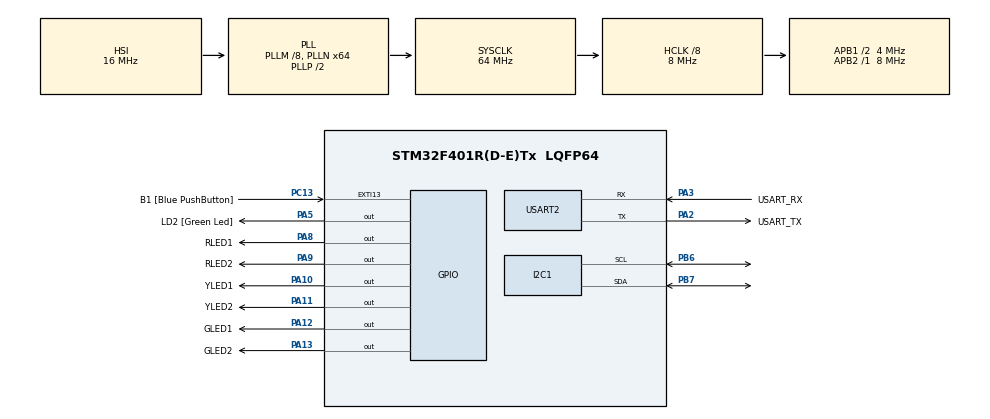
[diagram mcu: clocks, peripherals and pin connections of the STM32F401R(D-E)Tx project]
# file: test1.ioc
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Mcu.Family=STM32F4
Mcu.Name=STM32F401R(D-E)Tx
Mcu.Package=LQFP64
NVIC.PriorityGroup=NVIC_PRIORITYGROUP_0
NVIC.TIM3_IRQn=true\:0\:0\:false\:false\:true\:true\:true\:true
PA10.GPIO_Label=YLED1
PA10.Signal=GPIO_Output
PA11.GPIO_Label=YLED2
PA11.Signal=GPIO_Output
PA12.GPIO_Label=GLED1
PA12.Signal=GPIO_Output
PA13.GPIO_Label=GLED2
PA13.Signal=GPIO_Output
PA14.GPIO_Label=TCK
PA14.Signal=SYS_JTCK-SWCLK
PA2.GPIO_Label=USART_TX
PA2.GPIO_Mode=GPIO_MODE_AF_PP
PA2.GPIO_PuPd=GPIO_NOPULL
PA2.GPIO_Speed=GPIO_SPEED_FREQ_LOW
PA2.Mode=Asynchronous
PA2.Signal=USART2_TX
PA3.GPIO_Label=USART_RX
PA3.GPIO_Mode=GPIO_MODE_AF_PP
PA3.GPIO_PuPd=GPIO_NOPULL
PA3.GPIO_Speed=GPIO_SPEED_FREQ_LOW
PA3.Mode=Asynchronous
PA3.Signal=USART2_RX
PA5.GPIO_Label=LD2 [Green Led]
PA5.GPIO_Mode=GPIO_MODE_OUTPUT_PP
PA5.GPIO_PuPd=GPIO_NOPULL
PA5.GPIO_Speed=GPIO_SPEED_FREQ_LOW
PA5.Signal=GPIO_Output
PA8.GPIO_Label=RLED1
PA8.Signal=GPIO_Output
PA9.GPIO_Label=RLED2
PA9.Signal=GPIO_Output
PB10.Signal=I2S2_CK
PB12.Signal=I2S2_WS
PB3.GPIO_Label=SWO
PB3.Signal=SYS_JTDO-SWO
PB6.Mode=I2C
PB6.Signal=I2C1_SCL
PB7.Mode=I2C
PB7.Signal=I2C1_SDA
PC13-ANTI_TAMP.GPIO_Label=B1 [Blue PushButton]
PC13-ANTI_TAMP.GPIO_ModeDefaultEXTI=GPIO_MODE_IT_FALLING
PC13-ANTI_TAMP.GPIO_PuPd=GPIO_NOPULL
PC13-ANTI_TAMP.Signal=GPXTI13
PC14-OSC32_IN.Mode=LSE-External-Oscillator
PC14-OSC32_IN.Signal=RCC_OSC32_IN
PC15-OSC32_OUT.Mode=LSE-External-Oscillator
PC15-OSC32_OUT.Signal=RCC_OSC32_OUT
PC2.Signal=I2S2_ext_SD
PC3.Signal=I2S2_SD
PC6.Signal=I2S2_MCK
PH0\ -\ OSC_IN.Mode=HSE-External-Clock-Source
PH0\ -\ OSC_IN.Signal=RCC_OSC_IN
PH1\ -\ OSC_OUT.Mode=HSE-External-Clock-Source
PH1\ -\ OSC_OUT.Signal=RCC_OSC_OUT
ProjectManager.HeapSize=0x200
ProjectManager.StackSize=0x400
ProjectManager.TargetToolchain=STM32CubeIDE
RCC.48MHZClocksFreq_Value=18285714.285714287
RCC.AHBCLKDivider=RCC_SYSCLK_DIV8
RCC.AHBFreq_Value=8000000
RCC.APB1CLKDivider=RCC_HCLK_DIV2
RCC.APB1Freq_Value=4000000
RCC.APB1TimFreq_Value=8000000
RCC.APB2Freq_Value=8000000
RCC.APB2TimFreq_Value=8000000
RCC.CortexFreq_Value=8000000
RCC.HCLKFreq_Value=8000000
RCC.HSE_VALUE=8000000
RCC.HSI_VALUE=16000000
RCC.PLLM=8
RCC.PLLN=64
RCC.PLLQ=7
RCC.SYSCLKFreq_VALUE=64000000
RCC.SYSCLKSource=RCC_SYSCLKSOURCE_PLLCLK
RCC.VCOOutputFreq_Value=128000000
TIM3.Period=62499
TIM3.Prescaler=128
TIM3.TIM_MasterOutputTrigger=TIM_TRGO_UPDATE
USART2.VirtualMode=VM_ASYNC
VP_TIM3_VS_ClockSourceINT.Mode=Internal
board=NUCLEO-F401RE

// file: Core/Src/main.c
/* USER CODE BEGIN Header */
/**
  ******************************************************************************
  * @file           : main.c
  * @brief          : Main program body
  ******************************************************************************
  * @attention
  *
  * Copyright (c) 2022 STMicroelectronics.
  * All rights reserved.
  *
  * This software is licensed under terms that can be found in the LICENSE file
  * in the root directory of this software component.
  * If no LICENSE file comes with this software, it is provided AS-IS.
  *
  ******************************************************************************
  */
/* USER CODE END Header */
#include "main.h"

/* USER CODE BEGIN PD */
#define HIGH 1
#define LOW 0
#define NUM_LEDS 6
#define RST_TIME 1
#define ADC_DAC_SAMPL_RATE 0x00 /* f_ref/1 */
#define F_REF 0x00 /*48kHz*/
#define TIMEOUT 1000
/* USER CODE END PD */

I2C_HandleTypeDef hi2c1;

TIM_HandleTypeDef htim3;

UART_HandleTypeDef huart2;

/* USER CODE BEGIN PV */
uint8_t TIM3_ISR_FLAG = 0;

uint16_t LED_PIN[NUM_LEDS]={RLED1_Pin, RLED2_Pin, YLED1_Pin, YLED2_Pin, GLED1_Pin, GLED2_Pin};
// I2C COMMUNICATION
uint8_t CODEC_I2C_ADDR = 0b0011000;
uint8_t CDC_REG0_ADDR = 0x00; /* PAGE SELECTION */
uint8_t CDC_REG2[] = {0x02, ADC_DAC_SAMPL_RATE};
uint8_t CDC_REG7[] = {0x07, F_REF}; /* fref */

/* USER CODE END PV */

void SystemClock_Config(void);
static void MX_GPIO_Init(void);
static void MX_USART2_UART_Init(void);
static void MX_TIM3_Init(void);
static void MX_I2C1_Init(void);
/* USER CODE BEGIN PFP */
static void Led_Clear();
static void Codec_Setup();
/* USER CODE END PFP */

int main(void)
{

  /* MCU Configuration--------------------------------------------------------*/

  /* Reset of all peripherals, Initializes the Flash interface and the Systick. */
  HAL_Init();

  /* Configure the system clock */
  SystemClock_Config();

  /* Initialize all configured peripherals */
  MX_GPIO_Init();
  MX_USART2_UART_Init();
  MX_TIM3_Init();
  MX_I2C1_Init();
  /* USER CODE BEGIN 2 */

  /* Start the Timer 3 to turn on LEDS */
  HAL_TIM_Base_Start_IT(&htim3);
  /* wait for CODEC RESET */
  HAL_Delay(RST_TIME);
  /* Codec Setup */
  Codec_Setup();
  /* USER CODE END 2 */

  /* Infinite loop */
  /* USER CODE BEGIN WHILE */
  uint8_t led_index = 0;
  while (1)
  {
    /* USER CODE END WHILE */

    /* USER CODE BEGIN 3 */
	  /* reset leds */
	  Led_Clear();

	  if(TIM3_ISR_FLAG){
		  /* set new led */
		  HAL_GPIO_WritePin(GPIOA, LED_PIN[led_index], HIGH);

		  led_index++;
		  if(led_index == NUM_LEDS){
			  led_index = 0;
		  }

		  TIM3_ISR_FLAG = 0;
	  }

  }
  /* USER CODE END 3 */
}

void SystemClock_Config(void)
{
  RCC_OscInitTypeDef RCC_OscInitStruct = {0};
  RCC_ClkInitTypeDef RCC_ClkInitStruct = {0};

  /** Configure the main internal regulator output voltage
  */
  __HAL_RCC_PWR_CLK_ENABLE();
  __HAL_PWR_VOLTAGESCALING_CONFIG(PWR_REGULATOR_VOLTAGE_SCALE2);

  /** Initializes the RCC Oscillators according to the specified parameters
  * in the RCC_OscInitTypeDef structure.
  */
  RCC_OscInitStruct.OscillatorType = RCC_OSCILLATORTYPE_HSI;
  RCC_OscInitStruct.HSIState = RCC_HSI_ON;
  RCC_OscInitStruct.HSICalibrationValue = RCC_HSICALIBRATION_DEFAULT;
  RCC_OscInitStruct.PLL.PLLState = RCC_PLL_ON;
  RCC_OscInitStruct.PLL.PLLSource = RCC_PLLSOURCE_HSI;
  RCC_OscInitStruct.PLL.PLLM = 8;
  RCC_OscInitStruct.PLL.PLLN = 64;
  RCC_OscInitStruct.PLL.PLLP = RCC_PLLP_DIV2;
  RCC_OscInitStruct.PLL.PLLQ = 7;
  if (HAL_RCC_OscConfig(&RCC_OscInitStruct) != HAL_OK)
  {
    Error_Handler();
  }

  /** Initializes the CPU, AHB and APB buses clocks
  */
  RCC_ClkInitStruct.ClockType = RCC_CLOCKTYPE_HCLK|RCC_CLOCKTYPE_SYSCLK
                              |RCC_CLOCKTYPE_PCLK1|RCC_CLOCKTYPE_PCLK2;
  RCC_ClkInitStruct.SYSCLKSource = RCC_SYSCLKSOURCE_PLLCLK;
  RCC_ClkInitStruct.AHBCLKDivider = RCC_SYSCLK_DIV8;
  RCC_ClkInitStruct.APB1CLKDivider = RCC_HCLK_DIV2;
  RCC_ClkInitStruct.APB2CLKDivider = RCC_HCLK_DIV1;

  if (HAL_RCC_ClockConfig(&RCC_ClkInitStruct, FLASH_LATENCY_0) != HAL_OK)
  {
    Error_Handler();
  }
}

static void MX_I2C1_Init(void)
{

  hi2c1.Instance = I2C1;
  hi2c1.Init.ClockSpeed = 100000;
  hi2c1.Init.DutyCycle = I2C_DUTYCYCLE_2;
  hi2c1.Init.OwnAddress1 = 0;
  hi2c1.Init.AddressingMode = I2C_ADDRESSINGMODE_7BIT;
  hi2c1.Init.DualAddressMode = I2C_DUALADDRESS_DISABLE;
  hi2c1.Init.OwnAddress2 = 0;
  hi2c1.Init.GeneralCallMode = I2C_GENERALCALL_DISABLE;
  hi2c1.Init.NoStretchMode = I2C_NOSTRETCH_DISABLE;
  if (HAL_I2C_Init(&hi2c1) != HAL_OK)
  {
    Error_Handler();
  }

}

static void MX_TIM3_Init(void)
{

  TIM_ClockConfigTypeDef sClockSourceConfig = {0};
  TIM_MasterConfigTypeDef sMasterConfig = {0};

  htim3.Instance = TIM3;
  htim3.Init.Prescaler = 128;
  htim3.Init.CounterMode = TIM_COUNTERMODE_UP;
  htim3.Init.Period = 62499;
  htim3.Init.ClockDivision = TIM_CLOCKDIVISION_DIV1;
  htim3.Init.AutoReloadPreload = TIM_AUTORELOAD_PRELOAD_DISABLE;
  if (HAL_TIM_Base_Init(&htim3) != HAL_OK)
  {
    Error_Handler();
  }
  sClockSourceConfig.ClockSource = TIM_CLOCKSOURCE_INTERNAL;
  if (HAL_TIM_ConfigClockSource(&htim3, &sClockSourceConfig) != HAL_OK)
  {
    Error_Handler();
  }
  sMasterConfig.MasterOutputTrigger = TIM_TRGO_UPDATE;
  sMasterConfig.MasterSlaveMode = TIM_MASTERSLAVEMODE_DISABLE;
  if (HAL_TIMEx_MasterConfigSynchronization(&htim3, &sMasterConfig) != HAL_OK)
  {
    Error_Handler();
  }

}

static void MX_USART2_UART_Init(void)
{

  huart2.Instance = USART2;
  huart2.Init.BaudRate = 115200;
  huart2.Init.WordLength = UART_WORDLENGTH_8B;
  huart2.Init.StopBits = UART_STOPBITS_1;
  huart2.Init.Parity = UART_PARITY_NONE;
  huart2.Init.Mode = UART_MODE_TX_RX;
  huart2.Init.HwFlowCtl = UART_HWCONTROL_NONE;
  huart2.Init.OverSampling = UART_OVERSAMPLING_16;
  if (HAL_UART_Init(&huart2) != HAL_OK)
  {
    Error_Handler();
  }

}

static void MX_GPIO_Init(void)
{
  GPIO_InitTypeDef GPIO_InitStruct = {0};

  /* GPIO Ports Clock Enable */
  __HAL_RCC_GPIOC_CLK_ENABLE();
  __HAL_RCC_GPIOH_CLK_ENABLE();
  __HAL_RCC_GPIOA_CLK_ENABLE();
  __HAL_RCC_GPIOB_CLK_ENABLE();

  /*Configure GPIO pin Output Level */
  HAL_GPIO_WritePin(GPIOA, LD2_Pin|RLED1_Pin|RLED2_Pin|YLED1_Pin
                          |YLED2_Pin|GLED1_Pin|GLED2_Pin, GPIO_PIN_RESET);

  /*Configure GPIO pin : B1_Pin */
  GPIO_InitStruct.Pin = B1_Pin;
  GPIO_InitStruct.Mode = GPIO_MODE_IT_FALLING;
  GPIO_InitStruct.Pull = GPIO_NOPULL;
  HAL_GPIO_Init(B1_GPIO_Port, &GPIO_InitStruct);

  /*Configure GPIO pin : PC2 */
  GPIO_InitStruct.Pin = GPIO_PIN_2;
  GPIO_InitStruct.Mode = GPIO_MODE_AF_PP;
  GPIO_InitStruct.Pull = GPIO_NOPULL;
  GPIO_InitStruct.Speed = GPIO_SPEED_FREQ_LOW;
  GPIO_InitStruct.Alternate = GPIO_AF6_I2S2ext;
  HAL_GPIO_Init(GPIOC, &GPIO_InitStruct);

  /*Configure GPIO pins : PC3 PC6 */
  GPIO_InitStruct.Pin = GPIO_PIN_3|GPIO_PIN_6;
  GPIO_InitStruct.Mode = GPIO_MODE_AF_PP;
  GPIO_InitStruct.Pull = GPIO_NOPULL;
  GPIO_InitStruct.Speed = GPIO_SPEED_FREQ_LOW;
  GPIO_InitStruct.Alternate = GPIO_AF5_SPI2;
  HAL_GPIO_Init(GPIOC, &GPIO_InitStruct);

  /*Configure GPIO pins : LD2_Pin RLED1_Pin RLED2_Pin YLED1_Pin
                           YLED2_Pin GLED1_Pin GLED2_Pin */
  GPIO_InitStruct.Pin = LD2_Pin|RLED1_Pin|RLED2_Pin|YLED1_Pin
                          |YLED2_Pin|GLED1_Pin|GLED2_Pin;
  GPIO_InitStruct.Mode = GPIO_MODE_OUTPUT_PP;
  GPIO_InitStruct.Pull = GPIO_NOPULL;
  GPIO_InitStruct.Speed = GPIO_SPEED_FREQ_LOW;
  HAL_GPIO_Init(GPIOA, &GPIO_InitStruct);

  /*Configure GPIO pins : PB10 PB12 */
  GPIO_InitStruct.Pin = GPIO_PIN_10|GPIO_PIN_12;
  GPIO_InitStruct.Mode = GPIO_MODE_AF_PP;
  GPIO_InitStruct.Pull = GPIO_NOPULL;
  GPIO_InitStruct.Speed = GPIO_SPEED_FREQ_LOW;
  GPIO_InitStruct.Alternate = GPIO_AF5_SPI2;
  HAL_GPIO_Init(GPIOB, &GPIO_InitStruct);

}

/* USER CODE BEGIN 4 */

static void Led_Clear(){
	HAL_GPIO_WritePin(GPIOA, RLED1_Pin|RLED2_Pin|YLED1_Pin
	                          |YLED2_Pin|GLED1_Pin|GLED2_Pin, GPIO_PIN_RESET);
}

static void Codec_Setup(){
	/* I2C set to 100 kHz */
	uint8_t CDC_REG0_VAL = HAL_I2C_Master_Receive(&hi2c1, CODEC_I2C_ADDR, &CDC_REG0_ADDR, sizeof(CDC_REG0_ADDR), TIMEOUT);

	if(CDC_REG0_VAL == 0){ /*PAGE 0 OK*/
		/* write ADC/DAC sampling frequency */
		HAL_I2C_Master_Transmit(&hi2c1, CODEC_I2C_ADDR, CDC_REG2, sizeof(CDC_REG2), TIMEOUT);
		/* write fref */
		HAL_I2C_Master_Transmit(&hi2c1, CODEC_I2C_ADDR, CDC_REG7, sizeof(CDC_REG7), TIMEOUT);
	}
}

void HAL_TIM_PeriodElapsedCallback(TIM_HandleTypeDef *htim){
	UNUSED(htim);
	TIM3_ISR_FLAG = 1;
}
/* USER CODE END 4 */

void Error_Handler(void)
{
  __disable_irq();
  while (1)
  {
  }
}
